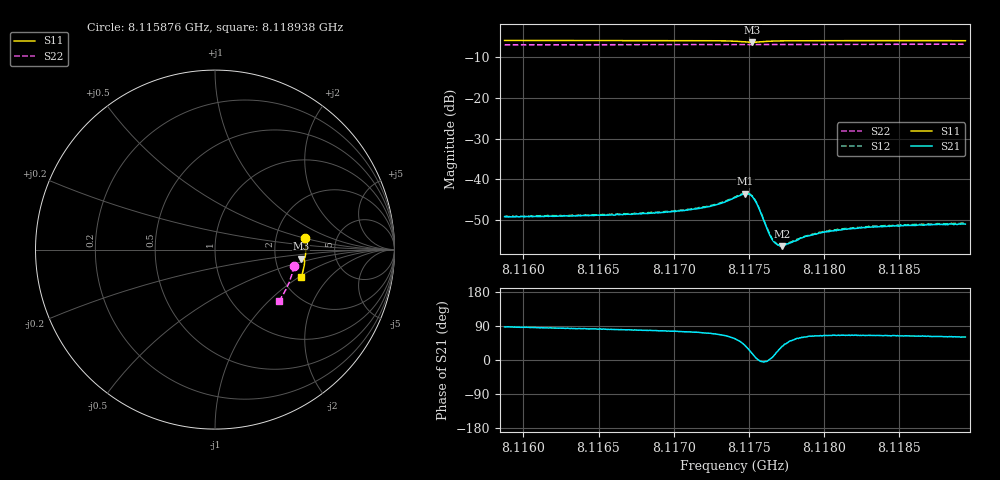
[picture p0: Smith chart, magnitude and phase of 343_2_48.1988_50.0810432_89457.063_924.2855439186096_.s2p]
#  HZ  S  RI  R  50.00
! Rohde & Schwarz Vector Network Analyzer
! Rohde-Schwarz,ZNB20-2Port,1311601062101988,3.16
! Created: UTC 3/20/2024, 11:51:22 AM
! freq[Hz]  re:S11  im:S11  re:S21  im:S21  re:S12  im:S12  re:S22  im:S22
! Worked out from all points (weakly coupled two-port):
!   401 points, 8.115876 GHz to 8.118938 GHz, reference 50 ohm
!   highest |S21| = -43.47 dB at 8.117476 GHz (marker M1); lowest = -56.4 dB at 8.117721 GHz (marker M2)
!   lowest |S11| = -6.3 dB at 8.117522 GHz (marker M3), VSWR 2.86, Z = 140 - j18.3 ohm
!   |S11| at or under -10 dB: nowhere
!   |S22| runs from -7.0 to -6.8 dB; largest |S21 - S12| = 0.00017
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8.1158756e9  0.503 0.0674  0.000162 0.00349  0.000223 0.00354  0.4386 -0.0926
8.1163886e9  0.5061 0.0289  0.000442 0.00358  0.000535 0.00358  0.4312 -0.1275
8.1169016e9  0.5058 -0.0104  0.000884 0.00381  0.000957 0.00391  0.421 -0.1619
8.11707e9  0.5047 -0.0239  0.00111 0.004  0.00116 0.00409  0.417 -0.1729
8.1172002e9  0.5031 -0.035  0.00146 0.0043  0.00152 0.00436  0.4138 -0.1813
8.1173227e9  0.4998 -0.0464  0.00212 0.00471  0.0022 0.00478  0.4104 -0.1893
8.1174069e9  0.4941 -0.0544  0.00335 0.00498  0.00347 0.00501  0.4077 -0.1949
8.1174758e9  0.4839 -0.0569  0.00534 0.00406  0.00546 0.00407  0.4056 -0.199
8.1174988e9  0.4805 -0.0544  0.00588 0.00304  0.00603 0.00303  0.4048 -0.2003
8.1175218e9  0.4793 -0.05  0.00594 0.00176  0.00605 0.0017  0.4041 -0.2014
8.1175371e9  0.4802 -0.0473  0.00558 0.000907  0.00569 0.000845  0.4039 -0.2023
8.11756e9  0.4834 -0.0444  0.0047 5.42e-05  0.00476 1.93e-05  0.4033 -0.2034
8.117629e9  0.4939 -0.0474  0.00227 -3.52e-05  0.00235 -4.16e-05  0.4018 -0.208
8.1176519e9  0.4958 -0.0499  0.00186 0.000197  0.0019 0.000191  0.4013 -0.2094
8.1176826e9  0.4974 -0.0533  0.00153 0.00056  0.00153 0.000564  0.4005 -0.2114
8.1177208e9  0.4986 -0.0576  0.00122 0.000904  0.00126 0.000947  0.3992 -0.2139
8.1178663e9  0.4989 -0.0717  0.000965 0.00171  0.000991 0.00173  0.3948 -0.2232
8.1179199e9  0.4985 -0.0763  0.000936 0.00186  0.000953 0.00192  0.3932 -0.2266
8.1179812e9  0.4979 -0.0814  0.000977 0.00199  0.00099 0.00203  0.3913 -0.2303
8.1181419e9  0.4958 -0.0942  0.00105 0.00224  0.00103 0.00228  0.3856 -0.2403
8.1184329e9  0.4912 -0.1162  0.00115 0.00239  0.00121 0.00246  0.375 -0.2578
8.1189382e9  0.4806 -0.1527  0.00139 0.00247  0.00142 0.00254  0.355 -0.2871
